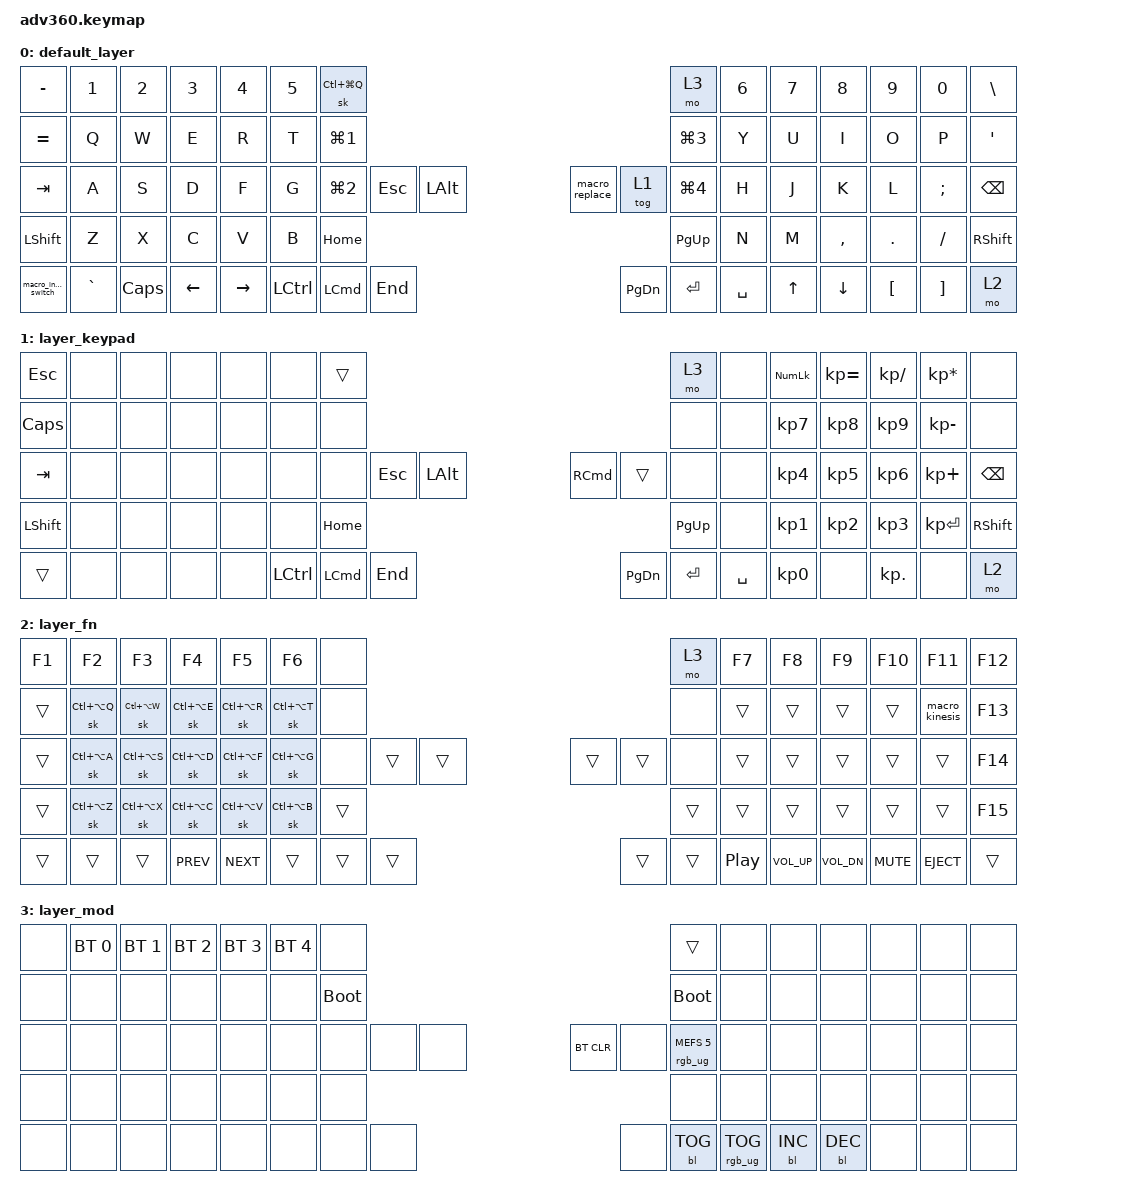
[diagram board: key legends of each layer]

/*
 * Copyright (c) 2020 The ZMK Contributors
 *
 * SPDX-License-Identifier: MIT
 */


/* THIS FILE WAS GENERATED!
 *
 * This file was generated automatically. You may or may not want to
 * edit it directly.
 */

#include <behaviors.dtsi>
#include <dt-bindings/zmk/keys.h>
#include <dt-bindings/zmk/bt.h>
#include <dt-bindings/zmk/rgb.h>
#include <dt-bindings/zmk/backlight.h>

/ {
  behaviors {
    #include "macros.dtsi"
    #include "version.dtsi"

    hm: homerow_mods {
        compatible = "zmk,behavior-hold-tap";
        label = "HOMEROW_MODS";
        #binding-cells = <2>;
        tapping-term-ms = <200>;
        quick_tap_ms = <175>;
        flavor = "tap-preferred";
        bindings = <&kp>, <&kp>;
    };
  };

     combos {
         compatible = "zmk,combos";

         // -
         combo_minus {
             timeout-ms = <50>;
             key-positions = <2 3>;
             bindings = <&kp MINUS>;
         };

         // =
         combo_equal {
             timeout-ms = <50>;
             key-positions = <16 17>;
             bindings = <&kp EQUAL>;
         };

         // ==
         combo_eq {
             timeout-ms = <50>;
             key-positions = <10 11>;
             bindings = <&macro_eq>;
         };

         // !=
         combo_noteq {
             timeout-ms = <50>;
             key-positions = <24 25>;
             bindings = <&macro_noteq>;
         };

         // :=
         combo_assignment {
             timeout-ms = <50>;
             key-positions = <42 43>;
             bindings = <&macro_assignment>;
         };

         // <=
         combo_leq {
             timeout-ms = <50>;
             key-positions = <56 57>;
             bindings = <&macro_leq>;
         };

         // >=
         combo_geq {
             timeout-ms = <50>;
             key-positions = <72 73>;
             bindings = <&macro_geq>;
         };
    };

    keymap {
        compatible = "zmk,keymap";


        default_layer {
            bindings = <
           &kp MINUS     &kp N1    &kp N2    &kp N3     &kp N4  &kp N5            &sk LC(LG(Q))                                                                                  &mo 3  &kp N6  &kp N7     &kp N8    &kp N9    &kp N0   &kp BSLH
           &kp EQUAL      &kp Q     &kp W     &kp E      &kp R   &kp T               &kp LG(N1)                                                                             &kp LG(N3)   &kp Y   &kp U      &kp I     &kp O     &kp P    &kp SQT
             &kp TAB      &kp A     &kp S     &kp D      &kp F   &kp G               &kp LG(N2)           &kp ESC  &kp LEFT_ALT                  &macro_replace     &tog 1  &kp LG(N4)   &kp H   &kp J      &kp K     &kp L  &kp SEMI   &kp BSPC
           &kp LSHFT      &kp Z     &kp X     &kp C      &kp V   &kp B                                                 &kp HOME                       &kp PG_UP                          &kp N   &kp M  &kp COMMA   &kp DOT  &kp FSLH  &kp RSHFT
 &macro_input_switch  &kp GRAVE  &kp CAPS  &kp LEFT  &kp RIGHT                        &kp LCTRL  &kp LEFT_COMMAND       &kp END                       &kp PG_DN  &kp ENTER   &kp SPACE          &kp UP   &kp DOWN  &kp LBKT  &kp RBKT      &mo 2
            >;
        };

        layer_keypad {
            bindings = <
   &kp ESC   &none   &none   &none   &none   &none               &trans                                                                                    &mo 3   &none  &kp KP_NUM  &kp KP_EQUAL  &kp KP_DIVIDE  &kp KP_MULTIPLY      &none
  &kp CAPS   &none   &none   &none   &none   &none                &none                                                                                    &none   &none   &kp KP_N7     &kp KP_N8      &kp KP_N9     &kp KP_MINUS      &none
   &kp TAB   &none   &none   &none   &none   &none                &none           &kp ESC  &kp LEFT_ALT                  &kp RIGHT_COMMAND     &trans      &none   &none   &kp KP_N4     &kp KP_N5      &kp KP_N6      &kp KP_PLUS   &kp BSPC
 &kp LSHFT   &none   &none   &none   &none   &none                                             &kp HOME                          &kp PG_UP                         &none   &kp KP_N1     &kp KP_N2      &kp KP_N3     &kp KP_ENTER  &kp RSHFT
    &trans   &none   &none   &none   &none                    &kp LCTRL  &kp LEFT_COMMAND       &kp END                          &kp PG_DN  &kp ENTER  &kp SPACE           &kp KP_N0         &none     &kp KP_DOT            &none      &mo 2
            >;
        };

        layer_fn {
            bindings = <
 &kp F1         &kp F2         &kp F3         &kp F4         &kp F5         &kp F6             &none                                                     &mo 3  &kp F7        &kp F8        &kp F9     &kp F10         &kp F11  &kp F12
 &trans  &sk LC(LA(Q))  &sk LC(LA(W))  &sk LC(LA(E))  &sk LC(LA(R))  &sk LC(LA(T))             &none                                                     &none  &trans        &trans        &trans      &trans  &macro_kinesis  &kp F13
 &trans  &sk LC(LA(A))  &sk LC(LA(S))  &sk LC(LA(D))  &sk LC(LA(F))  &sk LC(LA(G))             &none  &trans  &trans                  &trans  &trans     &none  &trans        &trans        &trans      &trans          &trans  &kp F14
 &trans  &sk LC(LA(Z))  &sk LC(LA(X))  &sk LC(LA(C))  &sk LC(LA(V))  &sk LC(LA(B))                            &trans                  &trans                    &trans        &trans        &trans      &trans          &trans  &kp F15
 &trans         &trans         &trans     &kp C_PREV     &kp C_NEXT                           &trans  &trans  &trans                  &trans  &trans  &kp C_PP          &kp C_VOL_UP  &kp C_VOL_DN  &kp C_MUTE     &kp C_EJECT   &trans
            >;
        };

        layer_mod {
            bindings = <
  &none  &bt BT_SEL 0  &bt BT_SEL 1  &bt BT_SEL 2  &bt BT_SEL 3  &bt BT_SEL 4                  &none                                                                          &trans   &none       &none       &none   &none   &none   &none
  &none         &none         &none         &none         &none         &none            &bootloader                                                                     &bootloader   &none       &none       &none   &none   &none   &none
  &none         &none         &none         &none         &none         &none                  &none   &none   &none                  &bt BT_CLR       &none  &rgb_ug RGB_MEFS_CMD 5   &none       &none       &none   &none   &none   &none
  &none         &none         &none         &none         &none         &none                                  &none                       &none                                       &none       &none       &none   &none   &none   &none
  &none         &none         &none         &none         &none                                &none   &none   &none                       &none  &bl BL_TOG         &rgb_ug RGB_TOG          &bl BL_INC  &bl BL_DEC   &none   &none   &none
            >;
        };

    };
};
